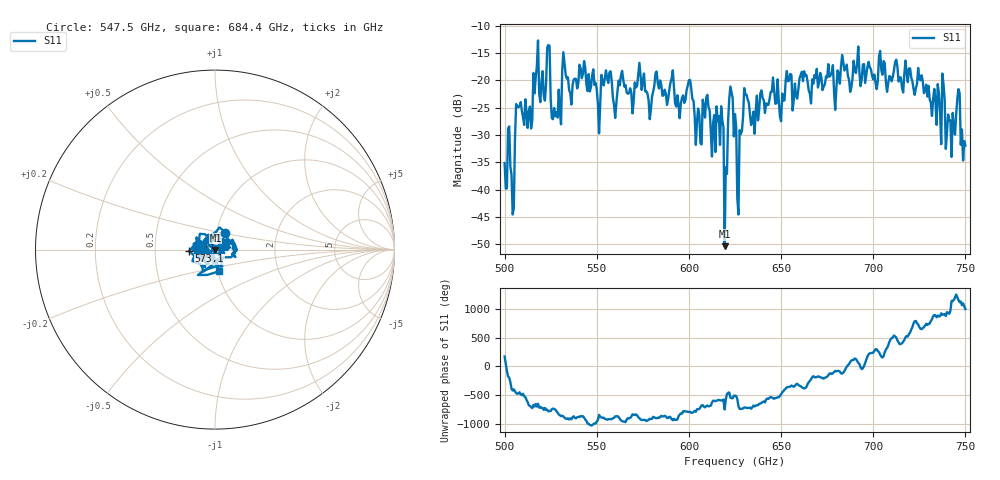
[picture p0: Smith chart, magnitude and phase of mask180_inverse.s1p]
!Created with skrf (http://scikit-rf.org).
# GHz S MA R 50.0
!freq magS11 angS11
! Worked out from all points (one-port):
!   401 points, 500 GHz to 750 GHz, reference 50 ohm
!   lowest |S11| = -50.3 dB at 619.4 GHz (marker M1), VSWR 1.01, Z = 50.3 - j0.132 ohm
!   |S11| at or under -10 dB: start of sweep to end of sweep
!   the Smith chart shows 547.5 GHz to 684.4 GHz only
!   S11 on the Smith chart (normalised r, x): 547.5 GHz: 1.10, +0.21; 573.1 GHz: 0.75, -0.01; 684.4 GHz: 1.01, -0.25
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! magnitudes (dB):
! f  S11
! 500 GHz  -35.1
! 504.4 GHz  -44.5
! 507.5 GHz  -24.9
! 513.8 GHz  -24.8
! 516.9 GHz  -19.4
! 523.8 GHz  -13.5
! 526.9 GHz  -25.0
! 531.2 GHz  -18.2
! 547.5 GHz  -19.1
! 562.5 GHz  -20.9
! 573.1 GHz  -16.8
! 593.8 GHz  -22.7
! 600 GHz  -20.0
! 605 GHz  -25.1
! 616.2 GHz  -26.5
! 619.4 GHz  -50.3
! 622.5 GHz  -21.1
! 625 GHz  -26.2
! 627.5 GHz  -29.1
! 631.2 GHz  -22.6
! 634.4 GHz  -27.4
! 656.2 GHz  -25.5
! 684.4 GHz  -18.2
! 687.5 GHz  -22.1
! 718.8 GHz  -20.3
! 741.2 GHz  -27.3
! 745.6 GHz  -23.3
! 750 GHz  -31.9
